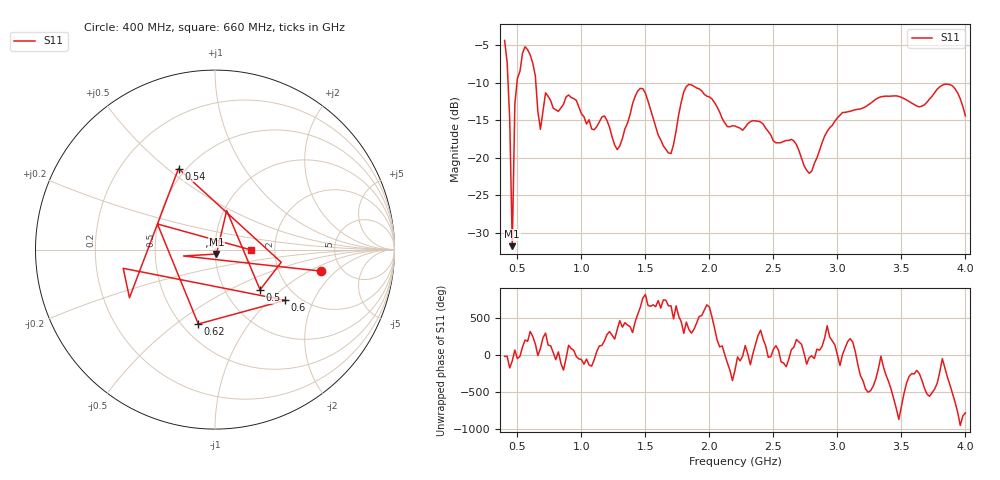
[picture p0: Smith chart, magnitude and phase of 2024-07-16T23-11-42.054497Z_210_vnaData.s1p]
!Created with skrf (http://scikit-rf.org).
# Hz S RI R 50.0
!freq ReS11 ImS11
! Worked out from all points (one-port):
!   181 points, 400 MHz to 4 GHz, reference 50 ohm
!   lowest |S11| = -31.7 dB at 460 MHz (marker M1), VSWR 1.05, Z = 50.7 - j2.51 ohm
!   |S11| at or under -10 dB: 427 MHz to 496.8 MHz (69.85 MHz wide, 15.1 % of centre); 643.8 MHz to end of sweep
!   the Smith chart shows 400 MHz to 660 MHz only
!   S11 on the Smith chart (normalised r, x): 400 MHz: 3.49, -1.31; 500 MHz: 1.45, -0.73; 540 MHz: 0.46, +0.55; 600 MHz: 1.70, -1.25; 620 MHz: 0.60, -0.61; 660 MHz: 1.51, -0.01
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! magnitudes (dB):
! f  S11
! 400 MHz  -4.4
! 420 MHz  -7.3
! 440 MHz  -14.9
! 460 MHz  -31.7
! 480 MHz  -12.9
! 500 MHz  -9.5
! 540 MHz  -6.1
! 600 MHz  -6.3
! 620 MHz  -7.4
! 660 MHz  -13.9
! 680 MHz  -16.2
! 720 MHz  -11.4
! 860 MHz  -12.9
! 1.1 GHz  -16.3
! 1.18 GHz  -14.4
! 1.3 GHz  -18.4
! 1.46 GHz  -10.8
! 1.68 GHz  -19.3
! 1.76 GHz  -14.3
! 1.84 GHz  -10.2
! 2.2 GHz  -15.8
! 2.66 GHz  -17.8
! 2.78 GHz  -22.1
! 2.92 GHz  -16.5
! 3.1 GHz  -13.8
! 3.56 GHz  -12.5
! 3.88 GHz  -10.3
! 4 GHz  -14.4
